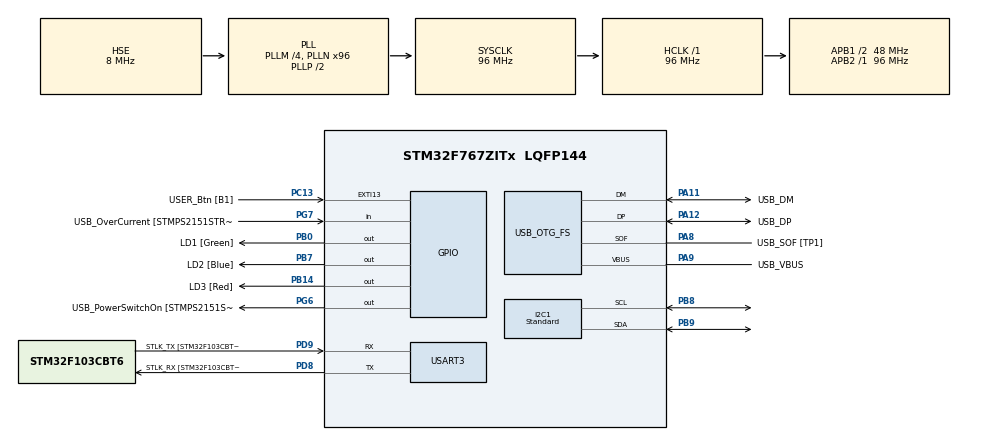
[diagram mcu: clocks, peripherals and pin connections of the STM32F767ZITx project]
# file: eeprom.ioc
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I2C1.I2C_Speed_Mode=I2C_Standard
I2C1.Timing=0x20303E5D
Mcu.Family=STM32F7
Mcu.Name=STM32F767ZITx
Mcu.Package=LQFP144
NVIC.PriorityGroup=NVIC_PRIORITYGROUP_4
PA1.GPIO_Label=RMII_REF_CLK [LAN8742A-CZ-TR_REFCLK0]
PA1.Signal=ETH_REF_CLK
PA10.GPIO_Label=USB_ID
PA10.Signal=USB_OTG_FS_ID
PA11.GPIO_Label=USB_DM
PA11.Mode=Device_Only
PA11.Signal=USB_OTG_FS_DM
PA12.GPIO_Label=USB_DP
PA12.Mode=Device_Only
PA12.Signal=USB_OTG_FS_DP
PA13.GPIO_Label=TMS
PA13.Mode=Serial_Wire
PA13.Signal=SYS_JTMS-SWDIO
PA14.GPIO_Label=TCK
PA14.Mode=Serial_Wire
PA14.Signal=SYS_JTCK-SWCLK
PA2.GPIO_Label=RMII_MDIO [LAN8742A-CZ-TR_MDIO]
PA2.Signal=ETH_MDIO
PA7.GPIO_Label=RMII_CRS_DV [LAN8742A-CZ-TR_CRS_DV]
PA7.Signal=ETH_CRS_DV
PA8.GPIO_Label=USB_SOF [TP1]
PA8.Mode=Activate_SOF_FS
PA8.Signal=USB_OTG_FS_SOF
PA9.GPIO_Label=USB_VBUS
PA9.Mode=Activate_VBUS
PA9.Signal=USB_OTG_FS_VBUS
PB0.GPIO_Label=LD1 [Green]
PB0.Signal=GPIO_Output
PB13.GPIO_Label=RMII_TXD1 [LAN8742A-CZ-TR_TXD1]
PB13.Signal=ETH_TXD1
PB14.GPIO_Label=LD3 [Red]
PB14.Signal=GPIO_Output
PB3.GPIO_Label=SWO
PB3.Signal=SYS_JTDO-SWO
PB7.GPIO_Label=LD2 [Blue]
PB7.Signal=GPIO_Output
PB8.Mode=I2C
PB8.Signal=I2C1_SCL
PB9.Mode=I2C
PB9.Signal=I2C1_SDA
PC1.GPIO_Label=RMII_MDC [LAN8742A-CZ-TR_MDC]
PC1.Signal=ETH_MDC
PC13.GPIO_Label=USER_Btn [B1]
PC13.Signal=GPXTI13
PC14/OSC32_IN.Mode=LSE-External-Oscillator
PC14/OSC32_IN.Signal=RCC_OSC32_IN
PC15/OSC32_OUT.Mode=LSE-External-Oscillator
PC15/OSC32_OUT.Signal=RCC_OSC32_OUT
PC4.GPIO_Label=RMII_RXD0 [LAN8742A-CZ-TR_RXD0]
PC4.Signal=ETH_RXD0
PC5.GPIO_Label=RMII_RXD1 [LAN8742A-CZ-TR_RXD1]
PC5.Signal=ETH_RXD1
PD8.GPIO_Label=STLK_RX [STM32F103CBT6_PA3]
PD8.Mode=Asynchronous
PD8.Signal=USART3_TX
PD9.GPIO_Label=STLK_TX [STM32F103CBT6_PA2]
PD9.Mode=Asynchronous
PD9.Signal=USART3_RX
PG11.GPIO_Label=RMII_TX_EN [LAN8742A-CZ-TR_TXEN]
PG11.Signal=ETH_TX_EN
PG13.GPIO_Label=RMII_TXD0 [LAN8742A-CZ-TR_TXD0]
PG13.Signal=ETH_TXD0
PG6.GPIO_Label=USB_PowerSwitchOn [STMPS2151STR_EN]
PG6.Signal=GPIO_Output
PG7.GPIO_Label=USB_OverCurrent [STMPS2151STR_FAULT]
PG7.Signal=GPIO_Input
PH0/OSC_IN.GPIO_Label=MCO [STM32F103CBT6_PA8]
PH0/OSC_IN.Mode=HSE-External-Clock-Source
PH0/OSC_IN.Signal=RCC_OSC_IN
PH1/OSC_OUT.Mode=HSE-External-Clock-Source
PH1/OSC_OUT.Signal=RCC_OSC_OUT
ProjectManager.HeapSize=0x200
ProjectManager.StackSize=0x400
ProjectManager.TargetToolchain=STM32CubeIDE
RCC.48MHZClocksFreq_Value=24000000
RCC.AHBFreq_Value=96000000
RCC.APB1CLKDivider=RCC_HCLK_DIV2
RCC.APB1Freq_Value=48000000
RCC.APB1TimFreq_Value=96000000
RCC.APB2Freq_Value=96000000
RCC.APB2TimFreq_Value=96000000
RCC.CortexFreq_Value=96000000
RCC.HCLKFreq_Value=96000000
RCC.HSE_VALUE=8000000
RCC.HSI_VALUE=16000000
RCC.PLLM=4
RCC.PLLMUL=RCC_PLL_MUL9
RCC.PLLN=96
RCC.PLLQ=4
RCC.PRESCALERUSB=RCC_USBCLKSOURCE_PLL_DIV1_5
RCC.SYSCLKFreq_VALUE=96000000
RCC.SYSCLKSource=RCC_SYSCLKSOURCE_PLLCLK
RCC.SYSCLKSourceVirtual=RCC_SYSCLKSOURCE_PLLCLK
RCC.USBFreq_Value=48000000
RCC.VCOOutputFreq_Value=192000000
USART3.VirtualMode-Asynchronous=VM_ASYNC
USB_OTG_FS.VirtualMode=Device_Only
board=NUCLEO-F767ZI

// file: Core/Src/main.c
/* USER CODE BEGIN Header */
/**
  ******************************************************************************
  * @file           : main.c
  * @brief          : Main program body
  ******************************************************************************
  * @attention
  *
  * Copyright (c) 2022 STMicroelectronics.
  * All rights reserved.
  *
  * This software is licensed under terms that can be found in the LICENSE file
  * in the root directory of this software component.
  * If no LICENSE file comes with this software, it is provided AS-IS.
  *
  ******************************************************************************
  */
/* USER CODE END Header */
#include "main.h"
#include "EEPROM.h"

I2C_HandleTypeDef hi2c1;

UART_HandleTypeDef huart3;

PCD_HandleTypeDef hpcd_USB_OTG_FS;

void SystemClock_Config(void);
static void MX_GPIO_Init(void);
static void MX_USART3_UART_Init(void);
static void MX_USB_OTG_FS_PCD_Init(void);
static void MX_I2C1_Init(void);

/* USER CODE BEGIN 0 */
#define DEV_ADDR 0xa0
uint8_t dataw1[] = "--- EEPROM from hello  world ---";		//32 BYTE
uint8_t dataw2[] = "This is the second string EEPROM";		//32 BYTE

uint8_t datar1[50];
uint8_t datar2[50];
char datar3[3];
/* USER CODE END 0 */

int main(void)
{

  /* MCU Configuration--------------------------------------------------------*/

  /* Reset of all peripherals, Initializes the Flash interface and the Systick. */
  HAL_Init();

  /* Configure the system clock */
  SystemClock_Config();

  /* Initialize all configured peripherals */
  MX_GPIO_Init();
  MX_USART3_UART_Init();
  MX_USB_OTG_FS_PCD_Init();
  MX_I2C1_Init();
  /* USER CODE BEGIN 2 */
  //HAL_GPIO_WritePin(GPIOB, LD1_Pin, SET);
  /*EEPROM_Write(11, 0, dataw1, strlen((char *)dataw1));
  HAL_Delay(10);
  EEPROM_Write(12, 0, dataw1, strlen((char *)dataw1));
  HAL_Delay(10);
  EEPROM_Write(13, 0, dataw1, strlen((char *)dataw1));
  HAL_Delay(10);
  EEPROM_Write(14, 0, dataw1, strlen((char *)dataw1));
  HAL_Delay(10);
  EEPROM_Write(15, 0, dataw1, strlen((char *)dataw1));
  HAL_Delay(10);
  EEPROM_Write(16, 0, dataw1, strlen((char *)dataw1));
  HAL_Delay(10);
  EEPROM_Write(17, 0, dataw1, strlen((char *)dataw1));
  HAL_Delay(10);
  EEPROM_Write(18, 0, dataw1, strlen((char *)dataw1));
  HAL_Delay(10);
  EEPROM_Write(19, 0, dataw1, strlen((char *)dataw1));
  HAL_Delay(10);
  EEPROM_Write(20, 0, dataw1, strlen((char *)dataw1));
  HAL_Delay(10);

  EEPROM_Write(21, 0, dataw2, strlen((char *)dataw2));
  HAL_Delay(10);
  EEPROM_Write(22, 0, dataw2, strlen((char *)dataw2));
  HAL_Delay(10);
  EEPROM_Write(23, 0, dataw2, strlen((char *)dataw2));
  HAL_Delay(10);
  EEPROM_Write(24, 0, dataw2, strlen((char *)dataw2));
  HAL_Delay(10);
  EEPROM_Write(25, 0, dataw2, strlen((char *)dataw2));
  HAL_Delay(10);
  EEPROM_Write(26, 0, dataw2, strlen((char *)dataw2));
  HAL_Delay(10);
  EEPROM_Write(27, 0, dataw2, strlen((char *)dataw2));
  HAL_Delay(10);
  EEPROM_Write(28, 0, dataw2, strlen((char *)dataw2));
  HAL_Delay(10);
  EEPROM_Write(29, 0, dataw2, strlen((char *)dataw2));
  HAL_Delay(10);
  EEPROM_Write(30, 0, dataw2, strlen((char *)dataw2));
  HAL_Delay(10);*/

  HAL_GPIO_WritePin(GPIOB, LD2_Pin, SET);

  if (!HAL_I2C_IsDeviceReady(&hi2c1, 0xA0, 3, 5))
	  HAL_UART_Transmit(&huart3, "Dispositivo I2C Disponble:\r\n", sizeof("Dispositivo I2C Disponble:\r\n"), 10000);
  else
	  HAL_UART_Transmit(&huart3, "Dispositivo I2C No Disponble:\r\n", sizeof("Dispositivo I2C No Disponble:\r\n"), 10000);
  HAL_Delay(2000);
  //EEPROM_Read(10, 0, datar2, 32);
  //EEPROM_Read(11, 0, datar1, 32);
  uint8_t t=0;
  /* USER CODE END 2 */

  /* Infinite loop */
  while (1)
  {

    /* USER CODE BEGIN 3 */
	HAL_GPIO_TogglePin(GPIOB, LD1_Pin);
	EEPROM_Read(t, 0, datar1, 32);
	t++;
	HAL_UART_Transmit(&huart3, datar1, 32, 100);
	HAL_UART_Transmit(&huart3, "\r\n", sizeof("\r\n"), 100);
	HAL_Delay(250);
	sprintf(datar3, "%hu:", t);
    HAL_UART_Transmit(&huart3, datar3, sizeof(datar3), 10);

	HAL_GPIO_TogglePin(GPIOB, LD3_Pin);
	EEPROM_Read(t, 0, datar2, 32);
	t++;
	HAL_UART_Transmit(&huart3, datar2, 32, 100);
	HAL_UART_Transmit(&huart3, "\r\n", sizeof("\r\n"), 100);
	HAL_Delay(250);

	if (t >= 30)
		t=0;
	sprintf(datar3, "%hu:", t);
	HAL_UART_Transmit(&huart3, datar3, sizeof(datar3), 10);
	HAL_Delay(250);

  }
  /* USER CODE END 3 */
}

void SystemClock_Config(void)
{
  RCC_OscInitTypeDef RCC_OscInitStruct = {0};
  RCC_ClkInitTypeDef RCC_ClkInitStruct = {0};

  /** Configure LSE Drive Capability
  */
  HAL_PWR_EnableBkUpAccess();
  /** Configure the main internal regulator output voltage
  */
  __HAL_RCC_PWR_CLK_ENABLE();
  __HAL_PWR_VOLTAGESCALING_CONFIG(PWR_REGULATOR_VOLTAGE_SCALE3);
  /** Initializes the RCC Oscillators according to the specified parameters
  * in the RCC_OscInitTypeDef structure.
  */
  RCC_OscInitStruct.OscillatorType = RCC_OSCILLATORTYPE_HSE;
  RCC_OscInitStruct.HSEState = RCC_HSE_BYPASS;
  RCC_OscInitStruct.PLL.PLLState = RCC_PLL_ON;
  RCC_OscInitStruct.PLL.PLLSource = RCC_PLLSOURCE_HSE;
  RCC_OscInitStruct.PLL.PLLM = 4;
  RCC_OscInitStruct.PLL.PLLN = 96;
  RCC_OscInitStruct.PLL.PLLP = RCC_PLLP_DIV2;
  RCC_OscInitStruct.PLL.PLLQ = 4;
  RCC_OscInitStruct.PLL.PLLR = 2;
  if (HAL_RCC_OscConfig(&RCC_OscInitStruct) != HAL_OK)
  {
    Error_Handler();
  }
  /** Activate the Over-Drive mode
  */
  if (HAL_PWREx_EnableOverDrive() != HAL_OK)
  {
    Error_Handler();
  }
  /** Initializes the CPU, AHB and APB buses clocks
  */
  RCC_ClkInitStruct.ClockType = RCC_CLOCKTYPE_HCLK|RCC_CLOCKTYPE_SYSCLK
                              |RCC_CLOCKTYPE_PCLK1|RCC_CLOCKTYPE_PCLK2;
  RCC_ClkInitStruct.SYSCLKSource = RCC_SYSCLKSOURCE_PLLCLK;
  RCC_ClkInitStruct.AHBCLKDivider = RCC_SYSCLK_DIV1;
  RCC_ClkInitStruct.APB1CLKDivider = RCC_HCLK_DIV2;
  RCC_ClkInitStruct.APB2CLKDivider = RCC_HCLK_DIV1;

  if (HAL_RCC_ClockConfig(&RCC_ClkInitStruct, FLASH_LATENCY_3) != HAL_OK)
  {
    Error_Handler();
  }
}

static void MX_I2C1_Init(void)
{

  hi2c1.Instance = I2C1;
  hi2c1.Init.Timing = 0x20303E5D;
  hi2c1.Init.OwnAddress1 = 0;
  hi2c1.Init.AddressingMode = I2C_ADDRESSINGMODE_7BIT;
  hi2c1.Init.DualAddressMode = I2C_DUALADDRESS_DISABLE;
  hi2c1.Init.OwnAddress2 = 0;
  hi2c1.Init.OwnAddress2Masks = I2C_OA2_NOMASK;
  hi2c1.Init.GeneralCallMode = I2C_GENERALCALL_DISABLE;
  hi2c1.Init.NoStretchMode = I2C_NOSTRETCH_DISABLE;
  if (HAL_I2C_Init(&hi2c1) != HAL_OK)
  {
    Error_Handler();
  }
  /** Configure Analogue filter
  */
  if (HAL_I2CEx_ConfigAnalogFilter(&hi2c1, I2C_ANALOGFILTER_ENABLE) != HAL_OK)
  {
    Error_Handler();
  }
  /** Configure Digital filter
  */
  if (HAL_I2CEx_ConfigDigitalFilter(&hi2c1, 0) != HAL_OK)
  {
    Error_Handler();
  }

}

static void MX_USART3_UART_Init(void)
{

  huart3.Instance = USART3;
  huart3.Init.BaudRate = 115200;
  huart3.Init.WordLength = UART_WORDLENGTH_8B;
  huart3.Init.StopBits = UART_STOPBITS_1;
  huart3.Init.Parity = UART_PARITY_NONE;
  huart3.Init.Mode = UART_MODE_TX_RX;
  huart3.Init.HwFlowCtl = UART_HWCONTROL_NONE;
  huart3.Init.OverSampling = UART_OVERSAMPLING_16;
  huart3.Init.OneBitSampling = UART_ONE_BIT_SAMPLE_DISABLE;
  huart3.AdvancedInit.AdvFeatureInit = UART_ADVFEATURE_NO_INIT;
  if (HAL_UART_Init(&huart3) != HAL_OK)
  {
    Error_Handler();
  }

}

static void MX_USB_OTG_FS_PCD_Init(void)
{

  hpcd_USB_OTG_FS.Instance = USB_OTG_FS;
  hpcd_USB_OTG_FS.Init.dev_endpoints = 6;
  hpcd_USB_OTG_FS.Init.speed = PCD_SPEED_FULL;
  hpcd_USB_OTG_FS.Init.dma_enable = DISABLE;
  hpcd_USB_OTG_FS.Init.phy_itface = PCD_PHY_EMBEDDED;
  hpcd_USB_OTG_FS.Init.Sof_enable = ENABLE;
  hpcd_USB_OTG_FS.Init.low_power_enable = DISABLE;
  hpcd_USB_OTG_FS.Init.lpm_enable = DISABLE;
  hpcd_USB_OTG_FS.Init.vbus_sensing_enable = ENABLE;
  hpcd_USB_OTG_FS.Init.use_dedicated_ep1 = DISABLE;
  if (HAL_PCD_Init(&hpcd_USB_OTG_FS) != HAL_OK)
  {
    Error_Handler();
  }

}

static void MX_GPIO_Init(void)
{
  GPIO_InitTypeDef GPIO_InitStruct = {0};

  /* GPIO Ports Clock Enable */
  __HAL_RCC_GPIOC_CLK_ENABLE();
  __HAL_RCC_GPIOH_CLK_ENABLE();
  __HAL_RCC_GPIOA_CLK_ENABLE();
  __HAL_RCC_GPIOB_CLK_ENABLE();
  __HAL_RCC_GPIOD_CLK_ENABLE();
  __HAL_RCC_GPIOG_CLK_ENABLE();

  /*Configure GPIO pin Output Level */
  HAL_GPIO_WritePin(GPIOB, LD1_Pin|LD3_Pin|LD2_Pin, GPIO_PIN_RESET);

  /*Configure GPIO pin Output Level */
  HAL_GPIO_WritePin(USB_PowerSwitchOn_GPIO_Port, USB_PowerSwitchOn_Pin, GPIO_PIN_RESET);

  /*Configure GPIO pin : USER_Btn_Pin */
  GPIO_InitStruct.Pin = USER_Btn_Pin;
  GPIO_InitStruct.Mode = GPIO_MODE_IT_RISING;
  GPIO_InitStruct.Pull = GPIO_NOPULL;
  HAL_GPIO_Init(USER_Btn_GPIO_Port, &GPIO_InitStruct);

  /*Configure GPIO pins : RMII_MDC_Pin RMII_RXD0_Pin RMII_RXD1_Pin */
  GPIO_InitStruct.Pin = RMII_MDC_Pin|RMII_RXD0_Pin|RMII_RXD1_Pin;
  GPIO_InitStruct.Mode = GPIO_MODE_AF_PP;
  GPIO_InitStruct.Pull = GPIO_NOPULL;
  GPIO_InitStruct.Speed = GPIO_SPEED_FREQ_VERY_HIGH;
  GPIO_InitStruct.Alternate = GPIO_AF11_ETH;
  HAL_GPIO_Init(GPIOC, &GPIO_InitStruct);

  /*Configure GPIO pins : RMII_REF_CLK_Pin RMII_MDIO_Pin RMII_CRS_DV_Pin */
  GPIO_InitStruct.Pin = RMII_REF_CLK_Pin|RMII_MDIO_Pin|RMII_CRS_DV_Pin;
  GPIO_InitStruct.Mode = GPIO_MODE_AF_PP;
  GPIO_InitStruct.Pull = GPIO_NOPULL;
  GPIO_InitStruct.Speed = GPIO_SPEED_FREQ_VERY_HIGH;
  GPIO_InitStruct.Alternate = GPIO_AF11_ETH;
  HAL_GPIO_Init(GPIOA, &GPIO_InitStruct);

  /*Configure GPIO pins : LD1_Pin LD3_Pin LD2_Pin */
  GPIO_InitStruct.Pin = LD1_Pin|LD3_Pin|LD2_Pin;
  GPIO_InitStruct.Mode = GPIO_MODE_OUTPUT_PP;
  GPIO_InitStruct.Pull = GPIO_NOPULL;
  GPIO_InitStruct.Speed = GPIO_SPEED_FREQ_LOW;
  HAL_GPIO_Init(GPIOB, &GPIO_InitStruct);

  /*Configure GPIO pin : RMII_TXD1_Pin */
  GPIO_InitStruct.Pin = RMII_TXD1_Pin;
  GPIO_InitStruct.Mode = GPIO_MODE_AF_PP;
  GPIO_InitStruct.Pull = GPIO_NOPULL;
  GPIO_InitStruct.Speed = GPIO_SPEED_FREQ_VERY_HIGH;
  GPIO_InitStruct.Alternate = GPIO_AF11_ETH;
  HAL_GPIO_Init(RMII_TXD1_GPIO_Port, &GPIO_InitStruct);

  /*Configure GPIO pin : USB_PowerSwitchOn_Pin */
  GPIO_InitStruct.Pin = USB_PowerSwitchOn_Pin;
  GPIO_InitStruct.Mode = GPIO_MODE_OUTPUT_PP;
  GPIO_InitStruct.Pull = GPIO_NOPULL;
  GPIO_InitStruct.Speed = GPIO_SPEED_FREQ_LOW;
  HAL_GPIO_Init(USB_PowerSwitchOn_GPIO_Port, &GPIO_InitStruct);

  /*Configure GPIO pin : USB_OverCurrent_Pin */
  GPIO_InitStruct.Pin = USB_OverCurrent_Pin;
  GPIO_InitStruct.Mode = GPIO_MODE_INPUT;
  GPIO_InitStruct.Pull = GPIO_NOPULL;
  HAL_GPIO_Init(USB_OverCurrent_GPIO_Port, &GPIO_InitStruct);

  /*Configure GPIO pins : RMII_TX_EN_Pin RMII_TXD0_Pin */
  GPIO_InitStruct.Pin = RMII_TX_EN_Pin|RMII_TXD0_Pin;
  GPIO_InitStruct.Mode = GPIO_MODE_AF_PP;
  GPIO_InitStruct.Pull = GPIO_NOPULL;
  GPIO_InitStruct.Speed = GPIO_SPEED_FREQ_VERY_HIGH;
  GPIO_InitStruct.Alternate = GPIO_AF11_ETH;
  HAL_GPIO_Init(GPIOG, &GPIO_InitStruct);

}

void Error_Handler(void)
{
  __disable_irq();
  while (1)
  {
  }
}
